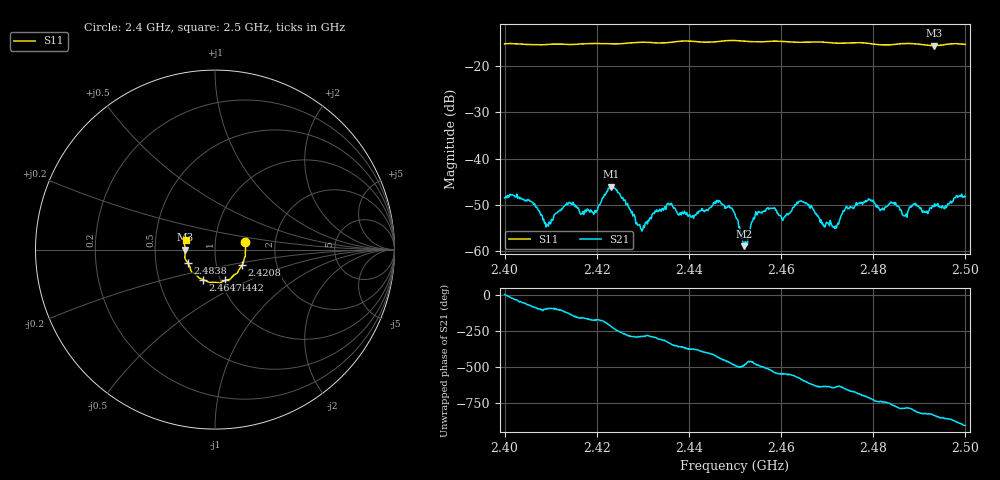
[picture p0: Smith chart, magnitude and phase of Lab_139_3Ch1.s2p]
# Hz S RI R 50
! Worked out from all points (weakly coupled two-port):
!   601 points, 2.4 GHz to 2.5 GHz, reference 50 ohm
!   highest |S21| = -46.09 dB at 2.4232 GHz (marker M1); lowest = -58.9 dB at 2.452 GHz (marker M2)
!   lowest |S11| = -15.6 dB at 2.4932 GHz (marker M3), VSWR 1.40, Z = 35.8 - j0.0806 ohm
!   |S11| at or under -10 dB: start of sweep to end of sweep
!   S12 and S22 are empty: the file has one direction only
!   S11 on the Smith chart (normalised r, x): 2.4 GHz: 1.40, +0.12; 2.4208 GHz: 1.33, -0.24; 2.4442 GHz: 1.05, -0.37; 2.4647 GHz: 0.83, -0.29; 2.4838 GHz: 0.73, -0.11; 2.5 GHz: 0.72, +0.08
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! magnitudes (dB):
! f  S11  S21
! 2.4 GHz  -15.2  -48.5
! 2.4057 GHz  -15.4  -49.2
! 2.4092 GHz  -15.4  -54.1
! 2.4137 GHz  -15.4  -50.0
! 2.4167 GHz  -15.2  -52.0
! 2.4208 GHz  -15.2  -49.6
! 2.4232 GHz  -15.2  -46.1
! 2.4295 GHz  -14.9  -54.9
! 2.4333 GHz  -15.1  -51.5
! 2.4442 GHz  -14.9  -51.2
! 2.45 GHz  -14.5  -52.0
! 2.452 GHz  -14.6  -58.9
! 2.4548 GHz  -14.8  -52.1
! 2.4647 GHz  -14.9  -49.3
! 2.4667 GHz  -14.8  -50.5
! 2.4717 GHz  -15.1  -55.2
! 2.4745 GHz  -15.0  -50.9
! 2.4833 GHz  -15.5  -50.0
! 2.4838 GHz  -15.4  -49.4
! 2.4868 GHz  -15.2  -52.3
! 2.4932 GHz  -15.6  -50.4
! 2.5 GHz  -15.3  -48.2
